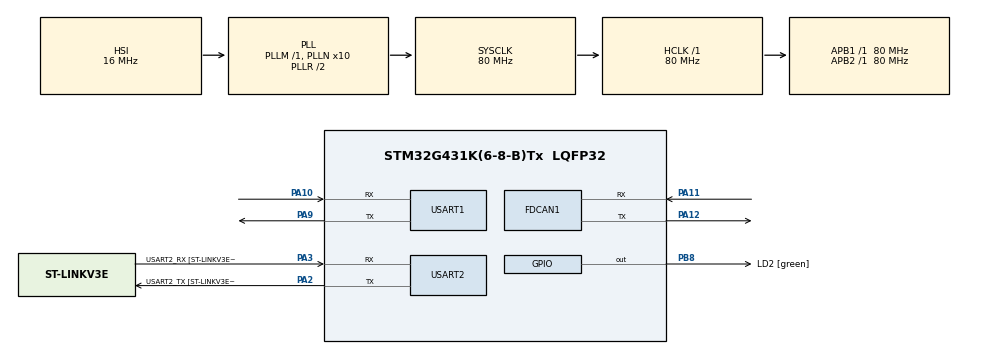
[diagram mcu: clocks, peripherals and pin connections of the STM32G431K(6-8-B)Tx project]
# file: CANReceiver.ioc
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FDCAN1.CalculateBaudRateNominal=1000000
FDCAN1.CalculateTimeBitNominal=1000
FDCAN1.CalculateTimeQuantumNominal=62.5
FDCAN1.DataPrescaler=1
FDCAN1.DataSyncJumpWidth=4
FDCAN1.DataTimeSeg1=5
FDCAN1.DataTimeSeg2=4
FDCAN1.NominalPrescaler=5
FDCAN1.NominalSyncJumpWidth=16
FDCAN1.NominalTimeSeg1=13
FDCAN1.StdFiltersNbr=1
Mcu.Family=STM32G4
Mcu.Name=STM32G431K(6-8-B)Tx
Mcu.Package=LQFP32
NVIC.FDCAN1_IT0_IRQn=true\:1\:0\:true\:false\:true\:true\:true\:true
NVIC.FDCAN1_IT1_IRQn=true\:1\:0\:true\:false\:true\:true\:true\:true
NVIC.PriorityGroup=NVIC_PRIORITYGROUP_4
NVIC.USART1_IRQn=true\:2\:0\:true\:false\:true\:true\:true\:true
PA10.Mode=Asynchronous
PA10.Signal=USART1_RX
PA11.Mode=FDCAN_Activate
PA11.Signal=FDCAN1_RX
PA12.Mode=FDCAN_Activate
PA12.Signal=FDCAN1_TX
PA13.GPIO_Label=T_SWDIO
PA13.Mode=Serial_Wire
PA13.Signal=SYS_JTMS-SWDIO
PA14.GPIO_Label=T_SWCLK
PA14.Mode=Serial_Wire
PA14.Signal=SYS_JTCK-SWCLK
PA2.GPIO_Label=USART2_TX [ST-LINKV3E_VCP_RX]
PA2.Mode=Asynchronous
PA2.Signal=USART2_TX
PA3.GPIO_Label=USART2_RX [ST-LINKV3E_VCP_TX]
PA3.Mode=Asynchronous
PA3.Signal=USART2_RX
PA9.Mode=Asynchronous
PA9.Signal=USART1_TX
PB8-BOOT0.GPIO_Label=LD2 [green]
PB8-BOOT0.Signal=GPIO_Output
ProjectManager.HeapSize=0x200
ProjectManager.StackSize=0x400
ProjectManager.TargetToolchain=STM32CubeIDE
RCC.ADC12Freq_Value=80000000
RCC.AHBFreq_Value=80000000
RCC.APB1Freq_Value=80000000
RCC.APB1TimFreq_Value=80000000
RCC.APB2Freq_Value=80000000
RCC.APB2TimFreq_Value=80000000
RCC.CortexFreq_Value=80000000
RCC.EXTERNAL_CLOCK_VALUE=12288000
RCC.HCLKFreq_Value=80000000
RCC.HSE_VALUE=8000000
RCC.HSI48_VALUE=48000000
RCC.HSI_VALUE=16000000
RCC.LSE_VALUE=32768
RCC.PLLN=10
RCC.SYSCLKFreq_VALUE=80000000
RCC.SYSCLKSource=RCC_SYSCLKSOURCE_PLLCLK
RCC.USBFreq_Value=80000000
RCC.VCOOutputFreq_Value=160000000
USART1.VirtualMode-Asynchronous=VM_ASYNC
USART2.VirtualMode-Asynchronous=VM_ASYNC
USART2.WordLength=WORDLENGTH_8B
board=NUCLEO-G431KB

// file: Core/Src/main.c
/* USER CODE BEGIN Header */
/**
  ******************************************************************************
  * @file           : main.c
  * @brief          : Main program body
  ******************************************************************************
  * @attention
  *
  * Copyright (c) 2023 STMicroelectronics.
  * All rights reserved.
  *
  * This software is licensed under terms that can be found in the LICENSE file
  * in the root directory of this software component.
  * If no LICENSE file comes with this software, it is provided AS-IS.
  *
  ******************************************************************************
  */
/* USER CODE END Header */
#include "main.h"

/* USER CODE BEGIN Includes */
#include <stdio.h>
#include <string.h>

/* USER CODE END Includes */

/* USER CODE BEGIN PM */
#define BUF_SIZE 44
#define ON 1
#define OFF 0

#define CANID_ROBOTVEL 0x20F

#define CANID_CYL_THROW 0x110

#define CANID_CYL_SET 0x114
#define CANID_CYL_TABLE 0x115
#define CANID_CYL_BLARM_1 0x116
#define CANID_CYL_BLARM_2 0x117

#define CANID_CYL_PICK 0x118
#define CANID_CYL_RELEASE 0x119
#define CANID_LED 0x11A
#define CANID_BAL_SPL_1 0x11B
#define CANID_BAL_SPL_2 0x11C
#define CANID_BAL_DSC_1 0x11D
#define CANID_BAL_DSC_2 0x11E
/* USER CODE END PM */

FDCAN_HandleTypeDef hfdcan1;

UART_HandleTypeDef huart1;
UART_HandleTypeDef huart2;

/* USER CODE BEGIN PV */
uint16_t PBattVol, CBattVol, AirPress, Tmp;
uint8_t byte[BUF_SIZE+10] = {};
int8_t UART_RxData[5] = {80, 80, 80, 0, 0};
uint8_t PFlag = 2;

/* USER CODE END PV */

void SystemClock_Config(void);
static void MX_GPIO_Init(void);
static void MX_USART2_UART_Init(void);
static void MX_FDCAN1_Init(void);
static void MX_USART1_UART_Init(void);

/* USER CODE BEGIN 0 */
int _write(int file, char *ptr, int len)
{
	//if(PFlag == 2){
		HAL_UART_Transmit(&huart2, (uint8_t *)ptr, len, 10);
		return len;
	//}
	/*
	else if(PFlag ==1){
		HAL_UART_Transmit(&huart1, (uint8_t *)ptr, len, 10);
		return len;
	}
	*/
}

/* USER CODE END 0 */

int main(void)
{
  /* USER CODE BEGIN 1 */
	uint8_t TxData[3];
	uint8_t i;
	FDCAN_TxHeaderTypeDef TxHeader;

	//printf("Initialized\r\n");
	uint8_t Flag1 = 1;
	uint8_t Flag2 = 1;
	uint8_t FlagL = 0;
	uint8_t FlagR = 1;
	uint8_t _inputs[11]={};
	uint8_t inputs[11]={};

	TxHeader.IdType = FDCAN_STANDARD_ID;
	TxHeader.TxFrameType = FDCAN_DATA_FRAME;
	TxHeader.DataLength = FDCAN_DLC_BYTES_3;
	TxHeader.ErrorStateIndicator = FDCAN_ESI_ACTIVE;
	TxHeader.BitRateSwitch = FDCAN_BRS_OFF;
	TxHeader.FDFormat = FDCAN_CLASSIC_CAN;
	TxHeader.TxEventFifoControl = FDCAN_NO_TX_EVENTS;
	TxHeader.MessageMarker = 0;
	TxHeader.Identifier = CANID_ROBOTVEL;

  /* USER CODE END 1 */

  /* MCU Configuration--------------------------------------------------------*/

  /* Reset of all peripherals, Initializes the Flash interface and the Systick. */
  HAL_Init();

  /* Configure the system clock */
  SystemClock_Config();

  /* Initialize all configured peripherals */
  MX_GPIO_Init();
  MX_USART2_UART_Init();
  MX_FDCAN1_Init();
  MX_USART1_UART_Init();
  /* USER CODE BEGIN 2 */
  //printf("Initialized!\r\n");
  /* USER CODE END 2 */

  /* Infinite loop */
  /* USER CODE BEGIN WHILE */
  while (1)
  {

	  for(i=0; i<3; i++){
		  TxData[i] = 127+(float)(UART_RxData[i]-80)*127/40;
	  }
	  TxHeader.Identifier = CANID_ROBOTVEL;
	  TxHeader.DataLength = FDCAN_DLC_BYTES_3;

	  //printf("X:%d, Y%d, Om%d\r\n", TxData[0], TxData[1], TxData[2]);

	  if(HAL_FDCAN_AddMessageToTxFifoQ(&hfdcan1, &TxHeader, TxData) != HAL_OK){
		  Error_Handler();
	  }

	  TxHeader.DataLength = FDCAN_DLC_BYTES_1;

	  for(i=0; i<11; i++){
		  if(i<6){
			  inputs[i] = (UART_RxData[3]>>(i+2))&1;
		  }
		  else{
			  inputs[i] = (UART_RxData[4]>>(i-4))&1;
		  }

		  //printf("%d: %d\r\n", i, inputs[i]);
	  }

	  for(uint8_t i=0; i<11; i++){
		  if(inputs[i] != _inputs[i]){
			  switch(i){
			  case 6:
				  if(inputs[i]==ON){
					  TxHeader.Identifier = CANID_CYL_SET;
					  TxData[0] = 7;
					  if (HAL_FDCAN_AddMessageToTxFifoQ(&hfdcan1, &TxHeader, TxData) != HAL_OK) {

							Error_Handler();
					  }
				  }
				  //printf("Set\r\n");

				  break;

			  case 0:
				  if(inputs[i]==ON){
					  TxHeader.Identifier = CANID_BAL_SPL_1;
					  TxData[0] = 7;
					  //printf("BAL1 supply\r\n");
					  if (HAL_FDCAN_AddMessageToTxFifoQ(&hfdcan1, &TxHeader, TxData) != HAL_OK) {

							Error_Handler();
					  }
				  }
				  else if(inputs[i] == OFF) {
					  TxHeader.Identifier = CANID_BAL_SPL_1;
					  TxData[0] = 6;
					  //printf("BAL1 Stop\r\n");
					  if (HAL_FDCAN_AddMessageToTxFifoQ(&hfdcan1, &TxHeader, TxData) != HAL_OK) {

							Error_Handler();
					  }
				  }

				  break;

			  case 2:
				  if(inputs[i]==ON){
					  TxHeader.Identifier = CANID_BAL_SPL_2;
					  TxData[0] = 7;
					  //printf("BAL2 Supply\r\n");
					  if (HAL_FDCAN_AddMessageToTxFifoQ(&hfdcan1, &TxHeader, TxData) != HAL_OK) {

							Error_Handler();
					  }
				  }
				  else if(inputs[i] == OFF) {
					  TxHeader.Identifier = CANID_BAL_SPL_2;
					  //printf("BAL2 Stop\r\n");
					  TxData[0] = 6;
					  if (HAL_FDCAN_AddMessageToTxFifoQ(&hfdcan1, &TxHeader, TxData) != HAL_OK) {

							Error_Handler();
					  }
				  }
				  break;

			  case 7:
				  if(inputs[i]==ON){
					  TxHeader.Identifier = CANID_CYL_PICK;
					  TxData[0] = 3;

					  //printf("Pick\r\n");
					  if (HAL_FDCAN_AddMessageToTxFifoQ(&hfdcan1, &TxHeader, TxData) != HAL_OK) {

							Error_Handler();
					  }
				  }
				  break;

			  case 8:
				  if(inputs[i]==ON){
					  TxHeader.Identifier = CANID_LED;

					  if(FlagL==0)FlagL=1;
					  else if(FlagL==1)FlagL=0;

					  TxData[0] = FlagL;
					  //printf("LED\r\n");
					  if (HAL_FDCAN_AddMessageToTxFifoQ(&hfdcan1, &TxHeader, TxData) != HAL_OK) {

							Error_Handler();
					  }
				  }
				  break;

			  case 9:
				  if(inputs[i]==ON){
					  TxHeader.Identifier = CANID_CYL_RELEASE;

					  if(FlagR==1)FlagR=2;
					  else if(FlagR==2)FlagR=1;

					  TxData[0] = FlagR;
					  //printf("Release%d\r\n", FlagR);
					  if (HAL_FDCAN_AddMessageToTxFifoQ(&hfdcan1, &TxHeader, TxData) != HAL_OK) {

							Error_Handler();
					  }
				  }
				  break;

			  case 1:
				  if(inputs[i]==ON){
					  TxHeader.Identifier = CANID_BAL_DSC_2;
					  TxData[0] = 7;

					  //printf("BAL2 Discharge\r\n");
					  if (HAL_FDCAN_AddMessageToTxFifoQ(&hfdcan1, &TxHeader, TxData) != HAL_OK) {

							Error_Handler();
					  }
				  }
				  else if(inputs[i] == OFF) {
					  TxHeader.Identifier = CANID_BAL_DSC_2;
					  TxData[0] = 6;

					  //printf("BAL2 Stop\r\n");
					  if (HAL_FDCAN_AddMessageToTxFifoQ(&hfdcan1, &TxHeader, TxData) != HAL_OK) {

							Error_Handler();
					  }
				  }
				  break;

			  case 10:
				  if(inputs[i]==ON){
					  TxHeader.Identifier = CANID_CYL_THROW;
					  TxData[0] = 3;
					  //printf("Throw\r\n");
					  if (HAL_FDCAN_AddMessageToTxFifoQ(&hfdcan1, &TxHeader, TxData) != HAL_OK) {

							Error_Handler();
					  }
				  }
				  break;

			  case 4:
				  if(inputs[i]==ON){
					  TxHeader.Identifier = CANID_CYL_BLARM_2;
					  if(Flag2 == 1)Flag2=6;
					  else Flag2=1;

					  TxData[0] = Flag2;

					  //printf("Arm2-%d\r\n",Flag2);
					  if (HAL_FDCAN_AddMessageToTxFifoQ(&hfdcan1, &TxHeader, TxData) != HAL_OK) {

							Error_Handler();
					  }

				  }

				  break;

			  case 3:
				  if(inputs[i]==ON){
					  TxHeader.Identifier = CANID_BAL_DSC_1;
					  TxData[0] = 7;

					  //printf("BAL1 Discharge\r\n");
					  if (HAL_FDCAN_AddMessageToTxFifoQ(&hfdcan1, &TxHeader, TxData) != HAL_OK) {

							Error_Handler();
					  }
				  }
				  else if(inputs[i] == OFF) {
					  //printf("BAL1 Stop\r\n");
					  TxHeader.Identifier = CANID_BAL_DSC_1;
					  TxData[0] = 6;
					  if (HAL_FDCAN_AddMessageToTxFifoQ(&hfdcan1, &TxHeader, TxData) != HAL_OK) {

							Error_Handler();
					  }
				  }
				  break;

			  case 5:

				  if(inputs[i]==OFF){
					  TxHeader.Identifier = CANID_CYL_BLARM_1;
					  if(Flag1 == 1)Flag1=6;
					  else Flag1=1;
					  //printf("arm1-%d\r\n",Flag1);

					  TxData[0] = Flag1;
					  if (HAL_FDCAN_AddMessageToTxFifoQ(&hfdcan1, &TxHeader, TxData) != HAL_OK) {

							Error_Handler();
					  }

				  }
				  break;
			  }
		  }
		  _inputs[i] = inputs[i];
	  }
	  HAL_Delay(20);

    /* USER CODE END WHILE */

  }
}

void SystemClock_Config(void)
{
  RCC_OscInitTypeDef RCC_OscInitStruct = {0};
  RCC_ClkInitTypeDef RCC_ClkInitStruct = {0};

  /** Configure the main internal regulator output voltage
  */
  HAL_PWREx_ControlVoltageScaling(PWR_REGULATOR_VOLTAGE_SCALE1);

  /** Initializes the RCC Oscillators according to the specified parameters
  * in the RCC_OscInitTypeDef structure.
  */
  RCC_OscInitStruct.OscillatorType = RCC_OSCILLATORTYPE_HSI;
  RCC_OscInitStruct.HSIState = RCC_HSI_ON;
  RCC_OscInitStruct.HSICalibrationValue = RCC_HSICALIBRATION_DEFAULT;
  RCC_OscInitStruct.PLL.PLLState = RCC_PLL_ON;
  RCC_OscInitStruct.PLL.PLLSource = RCC_PLLSOURCE_HSI;
  RCC_OscInitStruct.PLL.PLLM = RCC_PLLM_DIV1;
  RCC_OscInitStruct.PLL.PLLN = 10;
  RCC_OscInitStruct.PLL.PLLP = RCC_PLLP_DIV2;
  RCC_OscInitStruct.PLL.PLLQ = RCC_PLLQ_DIV2;
  RCC_OscInitStruct.PLL.PLLR = RCC_PLLR_DIV2;
  if (HAL_RCC_OscConfig(&RCC_OscInitStruct) != HAL_OK)
  {
    Error_Handler();
  }

  /** Initializes the CPU, AHB and APB buses clocks
  */
  RCC_ClkInitStruct.ClockType = RCC_CLOCKTYPE_HCLK|RCC_CLOCKTYPE_SYSCLK
                              |RCC_CLOCKTYPE_PCLK1|RCC_CLOCKTYPE_PCLK2;
  RCC_ClkInitStruct.SYSCLKSource = RCC_SYSCLKSOURCE_PLLCLK;
  RCC_ClkInitStruct.AHBCLKDivider = RCC_SYSCLK_DIV1;
  RCC_ClkInitStruct.APB1CLKDivider = RCC_HCLK_DIV1;
  RCC_ClkInitStruct.APB2CLKDivider = RCC_HCLK_DIV1;

  if (HAL_RCC_ClockConfig(&RCC_ClkInitStruct, FLASH_LATENCY_2) != HAL_OK)
  {
    Error_Handler();
  }
}

static void MX_FDCAN1_Init(void)
{

  hfdcan1.Instance = FDCAN1;
  hfdcan1.Init.ClockDivider = FDCAN_CLOCK_DIV1;
  hfdcan1.Init.FrameFormat = FDCAN_FRAME_CLASSIC;
  hfdcan1.Init.Mode = FDCAN_MODE_NORMAL;
  hfdcan1.Init.AutoRetransmission = DISABLE;
  hfdcan1.Init.TransmitPause = DISABLE;
  hfdcan1.Init.ProtocolException = DISABLE;
  hfdcan1.Init.NominalPrescaler = 5;
  hfdcan1.Init.NominalSyncJumpWidth = 16;
  hfdcan1.Init.NominalTimeSeg1 = 13;
  hfdcan1.Init.NominalTimeSeg2 = 2;
  hfdcan1.Init.DataPrescaler = 1;
  hfdcan1.Init.DataSyncJumpWidth = 4;
  hfdcan1.Init.DataTimeSeg1 = 5;
  hfdcan1.Init.DataTimeSeg2 = 4;
  hfdcan1.Init.StdFiltersNbr = 1;
  hfdcan1.Init.ExtFiltersNbr = 0;
  hfdcan1.Init.TxFifoQueueMode = FDCAN_TX_FIFO_OPERATION;
  if (HAL_FDCAN_Init(&hfdcan1) != HAL_OK)
  {
    Error_Handler();
  }
  /* USER CODE BEGIN FDCAN1_Init 2 */
	FDCAN_FilterTypeDef sFilterConfig;
	sFilterConfig.IdType = FDCAN_STANDARD_ID;
	sFilterConfig.FilterIndex = 0;
	sFilterConfig.FilterType = FDCAN_FILTER_MASK;
	sFilterConfig.FilterConfig = FDCAN_FILTER_TO_RXFIFO0;
	sFilterConfig.FilterID1 = 0x700;
	sFilterConfig.FilterID2 = 0x7FF;

	if (HAL_FDCAN_ConfigFilter(&hfdcan1, &sFilterConfig) != HAL_OK) {
		Error_Handler();
	}
	if (HAL_FDCAN_ConfigGlobalFilter(&hfdcan1, FDCAN_REJECT, FDCAN_REJECT, FDCAN_FILTER_REMOTE, FDCAN_FILTER_REMOTE) != HAL_OK) {
		Error_Handler();
	}

	if (HAL_FDCAN_Start(&hfdcan1) != HAL_OK) {
		Error_Handler();
	}
	if (HAL_FDCAN_ActivateNotification(&hfdcan1, FDCAN_IT_RX_FIFO0_NEW_MESSAGE, 0) != HAL_OK) {
	  Error_Handler();
	}

  /* USER CODE END FDCAN1_Init 2 */

}

static void MX_USART1_UART_Init(void)
{

  huart1.Instance = USART1;
  huart1.Init.BaudRate = 115200;
  huart1.Init.WordLength = UART_WORDLENGTH_8B;
  huart1.Init.StopBits = UART_STOPBITS_1;
  huart1.Init.Parity = UART_PARITY_NONE;
  huart1.Init.Mode = UART_MODE_TX_RX;
  huart1.Init.HwFlowCtl = UART_HWCONTROL_NONE;
  huart1.Init.OverSampling = UART_OVERSAMPLING_16;
  huart1.Init.OneBitSampling = UART_ONE_BIT_SAMPLE_DISABLE;
  huart1.Init.ClockPrescaler = UART_PRESCALER_DIV1;
  huart1.AdvancedInit.AdvFeatureInit = UART_ADVFEATURE_NO_INIT;
  if (HAL_UART_Init(&huart1) != HAL_OK)
  {
    Error_Handler();
  }
  if (HAL_UARTEx_SetTxFifoThreshold(&huart1, UART_TXFIFO_THRESHOLD_1_8) != HAL_OK)
  {
    Error_Handler();
  }
  if (HAL_UARTEx_SetRxFifoThreshold(&huart1, UART_RXFIFO_THRESHOLD_1_8) != HAL_OK)
  {
    Error_Handler();
  }
  if (HAL_UARTEx_DisableFifoMode(&huart1) != HAL_OK)
  {
    Error_Handler();
  }
  /* USER CODE BEGIN USART1_Init 2 */
  HAL_UART_Receive_IT(&huart1, byte, BUF_SIZE);

  /* USER CODE END USART1_Init 2 */

}

static void MX_USART2_UART_Init(void)
{

  huart2.Instance = USART2;
  huart2.Init.BaudRate = 115200;
  huart2.Init.WordLength = UART_WORDLENGTH_8B;
  huart2.Init.StopBits = UART_STOPBITS_1;
  huart2.Init.Parity = UART_PARITY_NONE;
  huart2.Init.Mode = UART_MODE_TX_RX;
  huart2.Init.HwFlowCtl = UART_HWCONTROL_NONE;
  huart2.Init.OverSampling = UART_OVERSAMPLING_16;
  huart2.Init.OneBitSampling = UART_ONE_BIT_SAMPLE_DISABLE;
  huart2.Init.ClockPrescaler = UART_PRESCALER_DIV1;
  huart2.AdvancedInit.AdvFeatureInit = UART_ADVFEATURE_NO_INIT;
  if (HAL_UART_Init(&huart2) != HAL_OK)
  {
    Error_Handler();
  }
  if (HAL_UARTEx_SetTxFifoThreshold(&huart2, UART_TXFIFO_THRESHOLD_1_8) != HAL_OK)
  {
    Error_Handler();
  }
  if (HAL_UARTEx_SetRxFifoThreshold(&huart2, UART_RXFIFO_THRESHOLD_1_8) != HAL_OK)
  {
    Error_Handler();
  }
  if (HAL_UARTEx_DisableFifoMode(&huart2) != HAL_OK)
  {
    Error_Handler();
  }
  /* USER CODE BEGIN USART2_Init 2 */
  setbuf(stdout, NULL);

  /* USER CODE END USART2_Init 2 */

}

static void MX_GPIO_Init(void)
{
  GPIO_InitTypeDef GPIO_InitStruct = {0};

  /* GPIO Ports Clock Enable */
  __HAL_RCC_GPIOA_CLK_ENABLE();
  __HAL_RCC_GPIOB_CLK_ENABLE();

  /*Configure GPIO pin Output Level */
  HAL_GPIO_WritePin(LD2_GPIO_Port, LD2_Pin, GPIO_PIN_RESET);

  /*Configure GPIO pin : LD2_Pin */
  GPIO_InitStruct.Pin = LD2_Pin;
  GPIO_InitStruct.Mode = GPIO_MODE_OUTPUT_PP;
  GPIO_InitStruct.Pull = GPIO_NOPULL;
  GPIO_InitStruct.Speed = GPIO_SPEED_FREQ_LOW;
  HAL_GPIO_Init(LD2_GPIO_Port, &GPIO_InitStruct);

}

/* USER CODE BEGIN 4 */

/*void HAL_FDCAN_RxFifo0Callback(FDCAN_HandleTypeDef *hfdcan, uint32_t RxFifo0ITs){
	if(hfdcan==&hfdcan1){
		//printf("get message!!\r\n");
		uint8_t RxData[8]={};
		FDCAN_RxHeaderTypeDef RxHeader;
		if (HAL_FDCAN_GetRxMessage(hfdcan, FDCAN_RX_FIFO0, &RxHeader, RxData) != HAL_OK) {
			Error_Handler();
		}
		if(RxHeader.Identifier == 0x700){
			PBattVol = RxData[0]<<8 | RxData[1];
			CBattVol = RxData[2]<<8 | RxData[3];
			AirPress = RxData[4]<<8 | RxData[5];

			PFlag=1;
			printf("%5d, %5d, %5d", PBattVol, CBattVol, AirPress);
			//HAL_UART_Transmit(&huart1, TxByte, 20, 100);
			//printf("Power Battery Vol: %d\r\n", PBattVol);
			//printf("Controller Battery Vol: %d\r\n", CBattVol);
			//printf("Air Pressure: %d\r\n", AirPress);

		}

	}
}*/

void HAL_UART_RxCpltCallback(UART_HandleTypeDef *huart){
	//;U;07156;120;0x8202753F;192;019;@@@
	/*if(huart->Instance == USART2){

		HAL_UART_Transmit(&huart2, byte, BUF_SIZE, 100);
		HAL_UART_Transmit(&huart1, byte, BUF_SIZE, 100);
		//HAL_UART_Transmit(&huart2, "hello", BUF_SIZE, 100);

		HAL_UART_Receive_IT(&huart2, byte, BUF_SIZE);
	}*/
	if(huart->Instance == USART1){
		uint8_t ID[] = "202753F";
		uint8_t IDFlag = 0;
		//printf("Get Message\r\n");
		for(uint8_t i=0; i<7; i++){
			if(ID[i] == byte[16+i]){
				IDFlag = 1;
			}
			else {
				IDFlag = 0;
				break;
			}
		}
		if(IDFlag==1){
			for(uint8_t i=0; i<5; i++){
				UART_RxData[i] = byte[32+i];
				PFlag=2;
				//printf("%d: %x\r\n", i, UART_RxData[i]);
			}
		}
		else {
			memset(byte, 0, BUF_SIZE + 10);

			UART_RxData[0] = 80;
			UART_RxData[1] = 80;
			UART_RxData[2] = 80;
			UART_RxData[3] = 0x00;
			UART_RxData[4] = 0x00;
		}
		//HAL_UART_Transmit(&huart2, byte, BUF_SIZE, 100);
		//printf("%s",inputs[0]);
		//HAL_UART_Transmit(&huart1, byte, BUF_SIZE, 100);
		//HAL_UART_Transmit(&huart2, "hello", BUF_SIZE, 100);

		HAL_UART_Receive_IT(&huart1, byte, BUF_SIZE);
	}
}

/* USER CODE END 4 */

void Error_Handler(void)
{
  __disable_irq();
  while (1)
  {
  }
}
